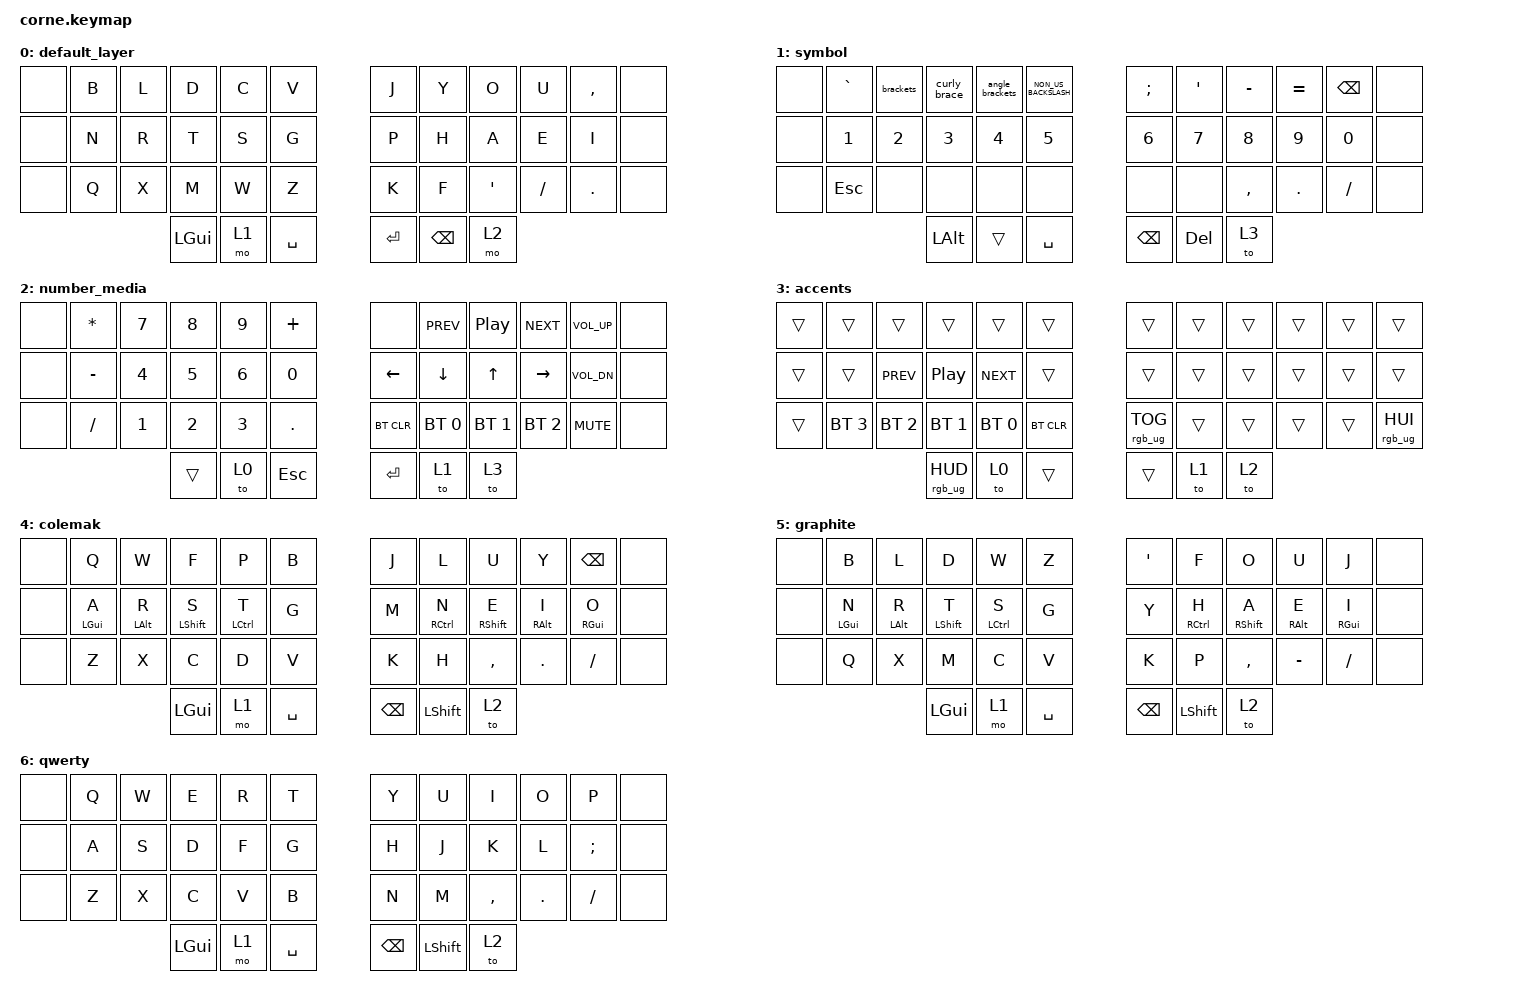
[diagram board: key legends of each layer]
/* urob helpers */
/* #include "zmk-helpers/helper.h" */

#include "zmk-helpers/key-labels/36.h"
#include <behaviors.dtsi>
#include <dt-bindings/zmk/bt.h>
#include <dt-bindings/zmk/keys.h>
#include <dt-bindings/zmk/rgb.h>

#define KEYS_L 0 1 2 3 4 5 12 13 14 15 16 17 24 25 26 27 28 29 36 37 38     // left-hand keys
#define KEYS_R 6 7 8 9 10 11 18 19 20 21 22 23 30 31 32 33 34 35 39 40 41   // right-hand keys
#define THUMBS LH2 LH1 LH0 RH0 RH1 RH2                                      // thumb keys

/ {
    behaviors {
        hmr: home_row_mod_right {
            compatible = "zmk,behavior-hold-tap";
            #binding-cells = <2>;
            flavor = "balanced";
            tapping-term-ms = <300>;             // hrm triggered on same hand during slow typing
            quick-tap-ms = <175>;                // repeat on tap-into-hold
            require-prior-idle-ms = <350>;       // updated to relaxed typing speed: 10500/(40WPM)
            bindings = <&kp>, <&kp>;

            hold-trigger-key-positions = <0 1 2 3 4 5 12 13 14 15 16 17 24 25 26 27 28 29 36 37 38>;
            hold-trigger-on-release;             // delay positional check until key-release
        };

        hml: home_row_mod_left {
            compatible = "zmk,behavior-hold-tap";
            #binding-cells = <2>;
            flavor = "balanced";
            tapping-term-ms = <300>;             // hrm triggered on same hand during slow typing
            quick-tap-ms = <175>;                // repeat on tap-into-hold
            require-prior-idle-ms = <350>;       // updated to relaxed typing speed: 10500/(40WPM)
            bindings = <&kp>, <&kp>;

            hold-trigger-key-positions = <6 7 8 9 10 11 18 19 20 21 22 23 30 31 32 33 34 35 39 40 41>;
            hold-trigger-on-release;             // delay positional check until key-release
        };

        curly_brace: curly_brace {
            compatible = "zmk,behavior-mod-morph";
            label = "CURLY_BRACE";
            bindings = <&kp LEFT_BRACE>, <&kp RIGHT_BRACE>;

            #binding-cells = <0>;
            mods = <(MOD_LSFT|MOD_RSFT)>;
        };

        brackets: brackets {
            compatible = "zmk,behavior-mod-morph";
            label = "BRACKETS";
            bindings = <&kp LEFT_BRACKET>, <&kp RIGHT_BRACKET>;

            #binding-cells = <0>;
            mods = <(MOD_LSFT|MOD_RSFT)>;
        };

        angle_brackets: angle_brackets {
            compatible = "zmk,behavior-mod-morph";
            label = "ANGLE_BRACKETS";
            bindings = <&kp LESS_THAN>, <&kp GREATER_THAN>;

            #binding-cells = <0>;
            mods = <(MOD_LSFT|MOD_RSFT)>;
        };

        accents_grave: accents_grave {
            compatible = "zmk,behavior-hold-tap";
            label = "ACCENTS_GRAVE";
            bindings = <&caps_word>, <&none>;

            #binding-cells = <2>;
            tapping-term-ms = <300>;
        };
    };

    macros {
        e_aigu: new_macro {
            compatible = "zmk,behavior-macro";
            #binding-cells = <0>;
            bindings =
                <&macro_press>,
                <&kp RALT>,
                <&macro_tap>,
                <&kp KP_NUMBER_1 &kp KP_NUMBER_3 &kp KP_NUMBER_0>,
                <&macro_release>,
                <&kp RALT>;

            label = "NEW_MACRO";
        };

        e_grave: e_aigu {
            compatible = "zmk,behavior-macro";
            #binding-cells = <0>;
            bindings = <&none>;
            label = "E_AIGU";
        };
    };

    keymap {
        compatible = "zmk,keymap";

        default_layer {
            bindings = <
&none  &kp B  &kp L  &kp D     &kp C  &kp V        &kp J      &kp Y          &kp O    &kp U     &kp COMMA  &none
&none  &kp N  &kp R  &kp T     &kp S  &kp G        &kp P      &kp H          &kp A    &kp E     &kp I      &none
&none  &kp Q  &kp X  &kp M     &kp W  &kp Z        &kp K      &kp F          &kp SQT  &kp FSLH  &kp DOT    &none
                     &kp LGUI  &mo 1  &kp SPACE    &kp ENTER  &kp BACKSPACE  &mo 2
            >;
        };

        symbol {
            bindings = <
&none  &kp GRAVE     &brackets     &curly_brace  &angle_brackets  &kp NON_US_BACKSLASH    &kp SEMICOLON  &kp SQT     &kp MINUS  &kp EQUAL   &kp BACKSPACE  &none
&none  &kp NUMBER_1  &kp NUMBER_2  &kp NUMBER_3  &kp NUMBER_4     &kp N5                  &kp NUMBER_6   &kp N7      &kp N8     &kp N9      &kp N0         &none
&none  &kp ESC       &none         &none         &none            &none                   &none          &none       &kp COMMA  &kp PERIOD  &kp SLASH      &none
                                   &kp LALT      &trans           &kp SPACE               &kp BACKSPACE  &kp DELETE  &to 3
            >;
        };

        number_media {
            bindings = <
&none  &kp ASTERISK  &kp N7  &kp N8  &kp N9  &kp PLUS      &none       &kp C_PREV    &kp C_PLAY_PAUSE  &kp C_NEXT    &kp C_VOLUME_UP  &none
&none  &kp MINUS     &kp N4  &kp N5  &kp N6  &kp N0        &kp LEFT    &kp DOWN      &kp UP            &kp RIGHT     &kp C_VOL_DN     &none
&none  &kp FSLH      &kp N1  &kp N2  &kp N3  &kp DOT       &bt BT_CLR  &bt BT_SEL 0  &bt BT_SEL 1      &bt BT_SEL 2  &kp C_MUTE       &none
                             &trans  &to 0   &kp ESCAPE    &kp ENTER   &to 1         &to 3
            >;
        };

        accents {
            bindings = <
&trans  &trans        &trans        &trans            &trans        &trans        &trans           &trans  &trans  &trans  &trans  &trans
&trans  &trans        &kp C_PREV    &kp C_PLAY_PAUSE  &kp C_NEXT    &trans        &trans           &trans  &trans  &trans  &trans  &trans
&trans  &bt BT_SEL 3  &bt BT_SEL 2  &bt BT_SEL 1      &bt BT_SEL 0  &bt BT_CLR    &rgb_ug RGB_TOG  &trans  &trans  &trans  &trans  &rgb_ug RGB_HUI
                                    &rgb_ug RGB_HUD   &to 0         &trans        &trans           &to 1   &to 2
            >;
        };

        colemak {
            bindings = <
&none  &kp Q        &kp W        &kp F         &kp P         &kp B        &kp J          &kp L           &kp U         &kp Y        &kp BACKSPACE  &none
&none  &hml LGUI A  &hml LALT R  &hml LSHFT S  &hml LCTRL T  &kp G        &kp M          &hmr RCTRL N    &hmr RSHFT E  &hmr RALT I  &hmr RGUI O    &none
&none  &kp Z        &kp X        &kp C         &kp D         &kp V        &kp K          &kp H           &kp COMMA     &kp DOT      &kp FSLH       &none
                                 &kp LGUI      &mo 1         &kp SPACE    &kp BACKSPACE  &kp LEFT_SHIFT  &to 2
            >;
        };

        graphite {
            bindings = <
&none  &kp B            &kp L        &kp D         &kp W         &kp Z        &kp SQT        &kp F           &kp O         &kp U        &kp J        &none
&none  &hml LEFT_GUI N  &hml LALT R  &hml LSHFT T  &hml LCTRL S  &kp G        &kp Y          &hmr RCTRL H    &hmr RSHFT A  &hmr RALT E  &hmr RGUI I  &none
&none  &kp Q            &kp X        &kp M         &kp C         &kp V        &kp K          &kp P           &kp COMMA     &kp MINUS    &kp FSLH     &none
                                     &kp LGUI      &mo 1         &kp SPACE    &kp BACKSPACE  &kp LEFT_SHIFT  &to 2
            >;
        };

        qwerty {
            bindings = <
&none  &kp Q  &kp W  &kp E     &kp R  &kp T        &kp Y          &kp U           &kp I      &kp O    &kp P     &none
&none  &kp A  &kp S  &kp D     &kp F  &kp G        &kp H          &kp J           &kp K      &kp L    &kp SEMI  &none
&none  &kp Z  &kp X  &kp C     &kp V  &kp B        &kp N          &kp M           &kp COMMA  &kp DOT  &kp FSLH  &none
                     &kp LGUI  &mo 1  &kp SPACE    &kp BACKSPACE  &kp LEFT_SHIFT  &to 2
            >;
        };
    };

    conditional_layers {
        compatible = "zmk,conditional-layers";

        Layer3 {
            if-layers = <1 2>;
            then-layer = <3>;
        };
    };
};
